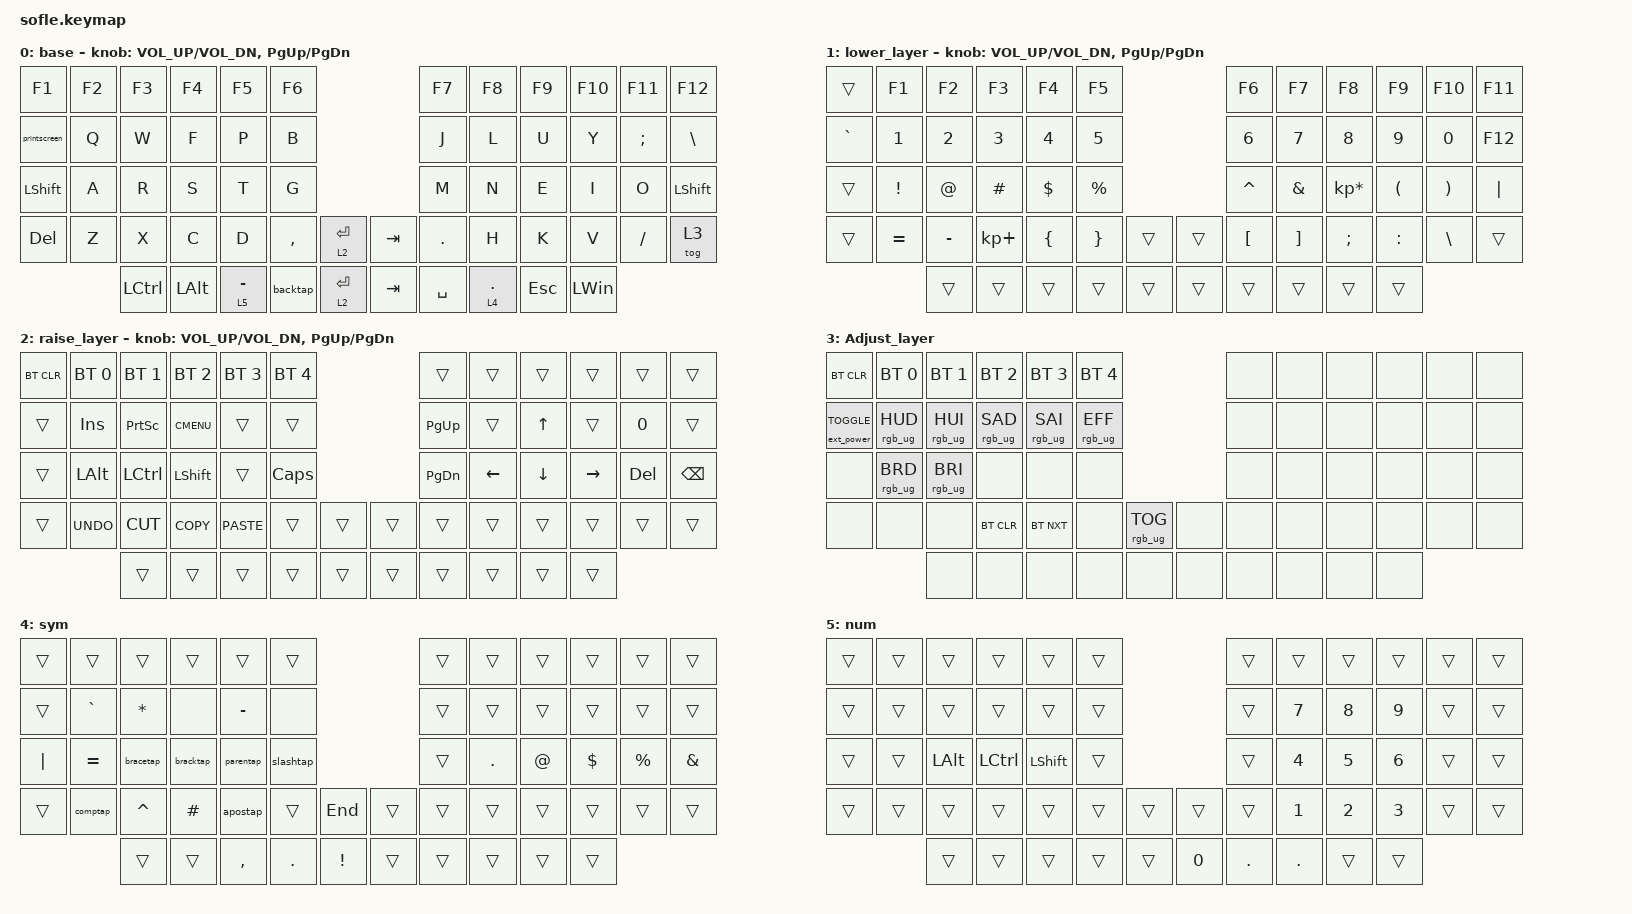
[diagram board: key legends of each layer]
/*
 * Copyright (c) 2020 The ZMK Contributors
 *
 * SPDX-License-Identifier: MIT
 */

#include <behaviors.dtsi>
#include <dt-bindings/zmk/bt.h>
#include <dt-bindings/zmk/ext_power.h>
#include <dt-bindings/zmk/keys.h>
#include <dt-bindings/zmk/rgb.h>

#define BASE 0
#define LOWER 1
#define RAISE 2
#define ADJUST 3

/ {
    // Activate ADJUST layer by pressing raise and lower

    conditional_layers {
        compatible = "zmk,conditional-layers";

        adjust_layer {
            if-layers = <LOWER RAISE>;
            then-layer = <ADJUST>;
        };
    };

    behaviors {
        slashtap: slashtap {
            compatible = "zmk,behavior-tap-dance";
            label = "SLASHTAP";
            #binding-cells = <0>;
            tapping-term-ms = <200>;
            bindings = <&kp SLASH>, <&kp BSLH>;
        };

        parentap: parentap {
            compatible = "zmk,behavior-tap-dance";
            label = "PARENTAP";
            #binding-cells = <0>;
            bindings = <&kp LEFT_PARENTHESIS>, <&kp RIGHT_PARENTHESIS>;
        };

        bracktap: bracktap {
            compatible = "zmk,behavior-tap-dance";
            label = "BRACKTAP";
            #binding-cells = <0>;
            bindings = <&kp LEFT_BRACKET>, <&kp RIGHT_BRACKET>;
        };

        bracetap: bracetap {
            compatible = "zmk,behavior-tap-dance";
            label = "BRACETAP";
            #binding-cells = <0>;
            bindings = <&kp LEFT_BRACE>, <&kp RIGHT_BRACE>;
        };

        apostap: apostap {
            compatible = "zmk,behavior-tap-dance";
            label = "APOSTAP";
            #binding-cells = <0>;
            bindings = <&kp APOS>, <&kp LS(APOS)>;
        };

        backtap: backtap {
            compatible = "zmk,behavior-tap-dance";
            label = "BACKTAP";
            #binding-cells = <0>;
            bindings = <&kp BACKSPACE>, <&kp LC(BACKSPACE)>;
        };

        comptap: comptap {
            compatible = "zmk,behavior-tap-dance";
            label = "COMPTAP";
            #binding-cells = <0>;
            bindings = <&kp LESS_THAN>, <&kp GREATER_THAN>;
        };

        printscreen: printscreen {
            compatible = "zmk,behavior-tap-dance";
            label = "PRINTSCREEN";
            #binding-cells = <0>;
            bindings = <&kp LA(PSCRN)>, <&kp LG(PSCRN)>;

            tapping-term-ms = <400>;
        };
    };

    keymap {
        compatible = "zmk,keymap";

        base {
            // ------------------------------------------------------------------------------------------------------------
            // |  `    |  1  |  2  |  3   |  4   |  5   |                   |  6   |  7    |  8    |  9   |   0   |       |
            // |  ESC  |  Q  |  W  |  E   |  R   |  T   |                   |  Y   |  U    |  I    |  O   |   P   | BKSPC |
            // |  TAB  |  A  |  S  |  D   |  F   |  G   |                   |  H   |  J    |  K    |  L   |   ;   |   '   |
            // | SHIFT |  Z  |  X  |  C   |  V   |  B   |  MUTE  |  |       |  N   |  M    |  ,    |  .   |   /   | SHIFT |
            //               | GUI | ALT  | CTRL | LOWER|  ENTER |  | SPACE | RAISE| CTRL  | ALT   | GUI  |

            bindings = <
&kp F1          &kp F2  &kp F3            &kp F4    &kp F5       &kp F6                             &kp F7     &kp F8        &kp F9   &kp F10       &kp F11   &kp F12
&printscreen    &kp Q   &kp W             &kp F     &kp P        &kp B                              &kp J      &kp L         &kp U    &kp Y         &kp SEMI  &kp BSLH
&kp LEFT_SHIFT  &kp A   &kp R             &kp S     &kp T        &kp G                              &kp M      &kp N         &kp E    &kp I         &kp O     &kp LEFT_SHIFT
&kp DEL         &kp Z   &kp X             &kp C     &kp D        &kp COMMA  &lt 2 ENTER    &kp TAB  &kp DOT    &kp H         &kp K    &kp V         &kp FSLH  &tog 3
                        &kp LEFT_CONTROL  &kp LALT  &lt 5 MINUS  &backtap   &lt 2 ENTER    &kp TAB  &kp SPACE  &lt 4 PERIOD  &kp ESC  &kp LEFT_WIN
            >;

            sensor-bindings = <&inc_dec_kp C_VOL_UP C_VOL_DN &inc_dec_kp PG_UP PG_DN>;
        };

        lower_layer {
            // TODO: Some binds are waiting for shifted keycode support.
            // ------------------------------------------------------------------------------------------------------------
            // |       |  F1 |  F2 |  F3  |  F4  |  F5  |                   |  F6  |  F7   |  F8   |  F9  |  F10  |  F11  |
            // | `     |   1 |   2 |   3  |   4  |   5  |                   |   6  |   7   |   8   |   9  |    0  |  F12  |
            // |       |  !  |  @  |  #   |  $   |  %   |                   |  ^   |  &    |  *    |  (   |   )   |   |   |
            // |       |  =  |  -  |  +   |  {   |  }   |        |  |       |  [   |  ]    |  ;    |  :   |   \   |       |
            //               |     |      |      |      |        |  |       |      |       |       |      |

            bindings = <
&trans     &kp F1     &kp F2     &kp F3       &kp F4    &kp F5                       &kp F6     &kp F7    &kp F8           &kp F9     &kp F10   &kp F11
&kp GRAVE  &kp N1     &kp N2     &kp N3       &kp N4    &kp N5                       &kp N6     &kp N7    &kp N8           &kp N9     &kp N0    &kp F12
&trans     &kp EXCL   &kp AT     &kp HASH     &kp DLLR  &kp PRCNT                    &kp CARET  &kp AMPS  &kp KP_MULTIPLY  &kp LPAR   &kp RPAR  &kp PIPE
&trans     &kp EQUAL  &kp MINUS  &kp KP_PLUS  &kp LBRC  &kp RBRC   &trans    &trans  &kp LBKT   &kp RBKT  &kp SEMI         &kp COLON  &kp BSLH  &trans
                      &trans     &trans       &trans    &trans     &trans    &trans  &trans     &trans    &trans           &trans
            >;

            sensor-bindings = <&inc_dec_kp C_VOL_UP C_VOL_DN &inc_dec_kp PG_UP PG_DN>;
        };

        raise_layer {
            // ------------------------------------------------------------------------------------------------------------
            // |BTCLR| BT1  | BT2  |  BT3  |  BT4  |  BT5 |                |      |      |       |      |       |       |
            // |     | INS  | PSCR | GUI   |       |      |                | PGUP |      |   ^   |      |       |       |
            // |     | ALT  | CTRL | SHIFT |       | CAPS |                | PGDN |   <- |   v   |  ->  |  DEL  | BKSPC |
            // |     | UNDO | CUT  | COPY  | PASTE |      |      |  |      |      |      |       |      |       |       |
            //              |      |       |       |      |      |  |      |      |      |       |      |

            bindings = <
&bt BT_CLR  &bt BT_SEL 0  &bt BT_SEL 1  &bt BT_SEL 2  &bt BT_SEL 3  &bt BT_SEL 4                    &trans     &trans    &trans    &trans     &trans   &trans
&trans      &kp INS       &kp PSCRN     &kp K_CMENU   &trans        &trans                          &kp PG_UP  &trans    &kp UP    &trans     &kp N0   &trans
&trans      &kp LALT      &kp LCTRL     &kp LSHFT     &trans        &kp CLCK                        &kp PG_DN  &kp LEFT  &kp DOWN  &kp RIGHT  &kp DEL  &kp BSPC
&trans      &kp K_UNDO    &kp K_CUT     &kp K_COPY    &kp K_PASTE   &trans        &trans    &trans  &trans     &trans    &trans    &trans     &trans   &trans
                          &trans        &trans        &trans        &trans        &trans    &trans  &trans     &trans    &trans    &trans
            >;

            sensor-bindings = <&inc_dec_kp C_VOL_UP C_VOL_DN &inc_dec_kp PG_UP PG_DN>;
        };

        // ------------------------------------------------------------------------------------------------------------
        // |BTCLR | BT1   | BT2   |  BT3  |  BT4  |  BT5  |                |      |      |       |      |       |       |
        // |EXTPWR|RGB_HUD|RGB_HUI|RGB_SAD|RGB_SAI|RGB_EFF|                |      |      |       |      |       |       |
        // |      |RGB_BRD|RGB_BRI|       |       |       |                |      |      |       |      |       |       |
        // |      |       |       |       |       |       |RGB_TOG| |      |      |      |       |      |       |       |
        //                |       |       |       |       |       | |      |      |      |       |      |

        Adjust_layer {
            bindings = <
&bt BT_CLR                       &bt BT_SEL 0     &bt BT_SEL 1     &bt BT_SEL 2     &bt BT_SEL 3     &bt BT_SEL 4                               &none  &none  &none  &none  &none  &none
&ext_power EXT_POWER_TOGGLE_CMD  &rgb_ug RGB_HUD  &rgb_ug RGB_HUI  &rgb_ug RGB_SAD  &rgb_ug RGB_SAI  &rgb_ug RGB_EFF                            &none  &none  &none  &none  &none  &none
&none                            &rgb_ug RGB_BRD  &rgb_ug RGB_BRI  &none            &none            &none                                      &none  &none  &none  &none  &none  &none
&none                            &none            &none            &bt BT_CLR       &bt BT_NXT       &none            &rgb_ug RGB_TOG    &none  &none  &none  &none  &none  &none  &none
                                                  &none            &none            &none            &none            &none              &none  &none  &none  &none  &none
            >;
        };

        sym {
            bindings = <
&trans    &trans     &trans        &trans     &trans     &trans                          &trans  &trans      &trans  &trans      &trans       &trans
&trans    &kp GRAVE  &kp ASTERISK  &none      &kp MINUS  &none                           &trans  &trans      &trans  &trans      &trans       &trans
&kp PIPE  &kp EQUAL  &bracetap     &bracktap  &parentap  &slashtap                       &trans  &kp PERIOD  &kp AT  &kp DOLLAR  &kp PERCENT  &kp AMPERSAND
&trans    &comptap   &kp CARET     &kp HASH   &apostap   &trans      &kp END     &trans  &trans  &trans      &trans  &trans      &trans       &trans
                     &trans        &trans     &kp COMMA  &kp PERIOD  &kp EXCL    &trans  &trans  &trans      &trans  &trans
            >;
        };

        num {
            bindings = <
&trans  &trans  &trans        &trans     &trans      &trans                    &trans   &trans   &trans  &trans  &trans  &trans
&trans  &trans  &trans        &trans     &trans      &trans                    &trans   &kp N7   &kp N8  &kp N9  &trans  &trans
&trans  &trans  &kp LEFT_ALT  &kp LCTRL  &kp LSHIFT  &trans                    &trans   &kp N4   &kp N5  &kp N6  &trans  &trans
&trans  &trans  &trans        &trans     &trans      &trans  &trans    &trans  &trans   &kp N1   &kp N2  &kp N3  &trans  &trans
                &trans        &trans     &trans      &trans  &trans    &kp N0  &kp DOT  &kp DOT  &trans  &trans
            >;
        };
    };
};
